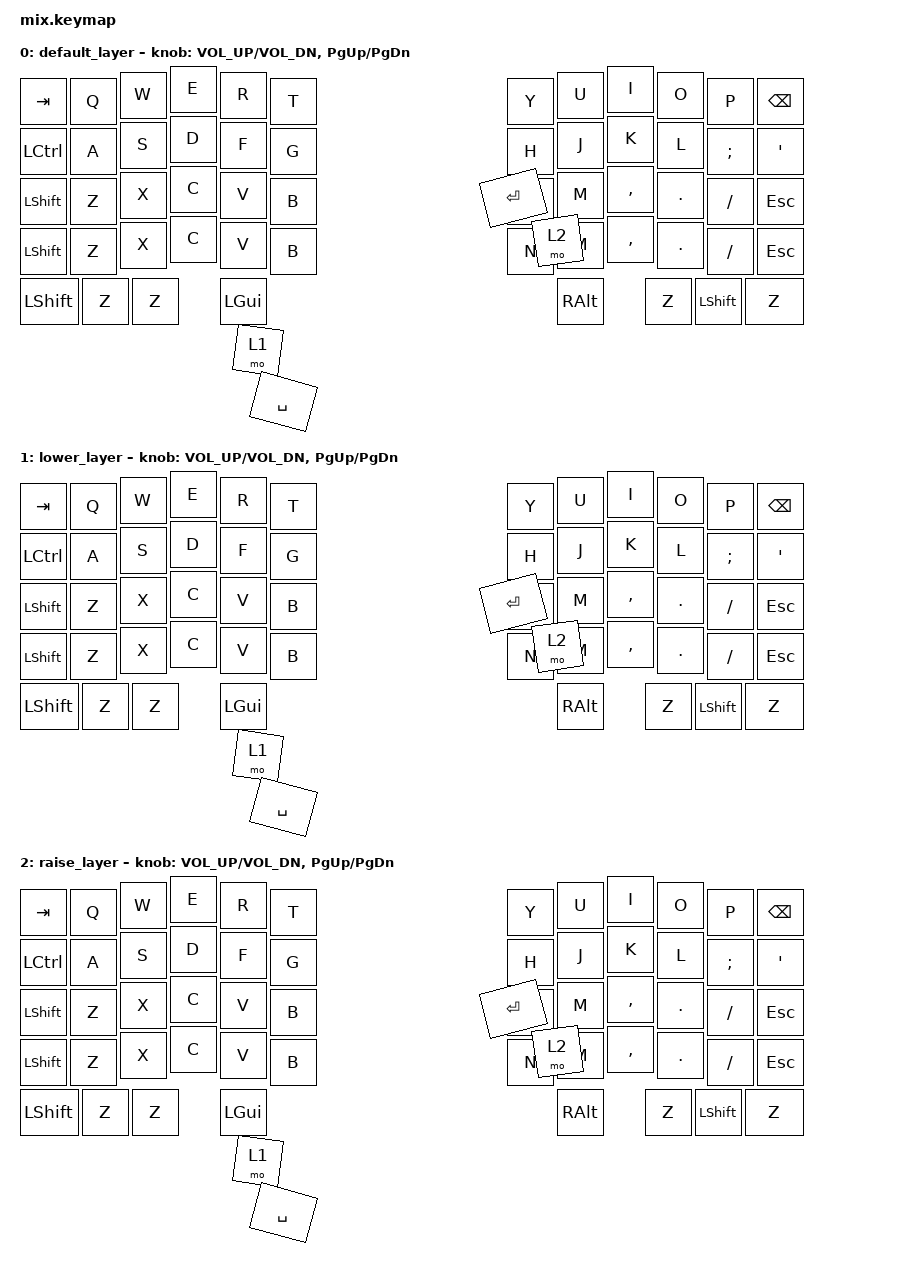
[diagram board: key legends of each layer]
/*
 * Copyright (c) 2020 The ZMK Contributors
 *
 * SPDX-License-Identifier: MIT
 */

#include <behaviors.dtsi>
#include <dt-bindings/zmk/keys.h>
#include <dt-bindings/zmk/bt.h>

#include <dt-bindings/zmk/outputs.h>
#include <zephyr/dt-bindings/input/input-event-codes.h>
#include <input/processors.dtsi>
#include <dt-bindings/zmk/input_transform.h>
#include <dt-bindings/zmk/ext_power.h>
#include <dt-bindings/zmk/pointing.h>

/ {
    // ====================== 触摸板配置（你要的全在这里）======================
    pointing_config {
        compatible = "zmk,pointing-config";
        
        // 1. 反转 X 轴
        invert-x;
        
        // 2. 降低鼠标灵敏度（默认 100，越小越慢）
        cursor-speed = <40>;
        
        // 3. 降低滚轮灵敏度（默认 80，越小越慢）
        scroll-speed = <30>;
    };
    // ======================================================================

    glidepoint_listener: glidepoint_listener {
        compatible = "zmk,input-listener";
        status = "disabled";
    };
};

/ {
        keymap {
                compatible = "zmk,keymap";

                default_layer {

                        bindings = <
   &kp TAB   &kp Q &kp W &kp E &kp R &kp T                       &kp Y &kp U  &kp I     &kp O   &kp P    &kp BSPC
   &kp LCTRL &kp A &kp S &kp D &kp F &kp G                        &kp H &kp J  &kp K     &kp L   &kp SEMI &kp SQT
   &kp LSHFT &kp Z &kp X &kp C &kp V &kp B                        &kp N &kp M  &kp COMMA &kp DOT &kp FSLH &kp ESC
   &kp LSHFT &kp Z &kp X &kp C &kp V &kp B                        &kp N &kp M  &kp COMMA &kp DOT &kp FSLH &kp ESC
   &kp LSHFT &kp Z &kp Z     &kp LGUI &mo 1 &kp SPACE     &kp RET &mo 2 &kp RALT         &kp Z   &kp LSHFT &kp Z
                        >;
                        sensor-bindings = <&inc_dec_kp C_VOL_UP C_VOL_DN &inc_dec_kp PG_UP PG_DN>;
                };
                lower_layer {

                        bindings = <
   &kp TAB   &kp Q &kp W &kp E &kp R &kp T                       &kp Y &kp U  &kp I     &kp O   &kp P    &kp BSPC
   &kp LCTRL &kp A &kp S &kp D &kp F &kp G                        &kp H &kp J  &kp K     &kp L   &kp SEMI &kp SQT
   &kp LSHFT &kp Z &kp X &kp C &kp V &kp B                        &kp N &kp M  &kp COMMA &kp DOT &kp FSLH &kp ESC
   &kp LSHFT &kp Z &kp X &kp C &kp V &kp B                        &kp N &kp M  &kp COMMA &kp DOT &kp FSLH &kp ESC
   &kp LSHFT &kp Z &kp Z     &kp LGUI &mo 1 &kp SPACE     &kp RET &mo 2 &kp RALT         &kp Z   &kp LSHFT &kp Z
                        >;
                        sensor-bindings = <&inc_dec_kp C_VOL_UP C_VOL_DN &inc_dec_kp PG_UP PG_DN>;
                };

                raise_layer {

                       bindings = <
   &kp TAB   &kp Q &kp W &kp E &kp R &kp T                       &kp Y &kp U  &kp I     &kp O   &kp P    &kp BSPC
   &kp LCTRL &kp A &kp S &kp D &kp F &kp G                        &kp H &kp J  &kp K     &kp L   &kp SEMI &kp SQT
   &kp LSHFT &kp Z &kp X &kp C &kp V &kp B                        &kp N &kp M  &kp COMMA &kp DOT &kp FSLH &kp ESC
   &kp LSHFT &kp Z &kp X &kp C &kp V &kp B                        &kp N &kp M  &kp COMMA &kp DOT &kp FSLH &kp ESC
   &kp LSHFT &kp Z &kp Z     &kp LGUI &mo 1 &kp SPACE     &kp RET &mo 2 &kp RALT         &kp Z   &kp LSHFT &kp Z
                        >;
                        sensor-bindings = <&inc_dec_kp C_VOL_UP C_VOL_DN &inc_dec_kp PG_UP PG_DN>;
                };
        };
};
